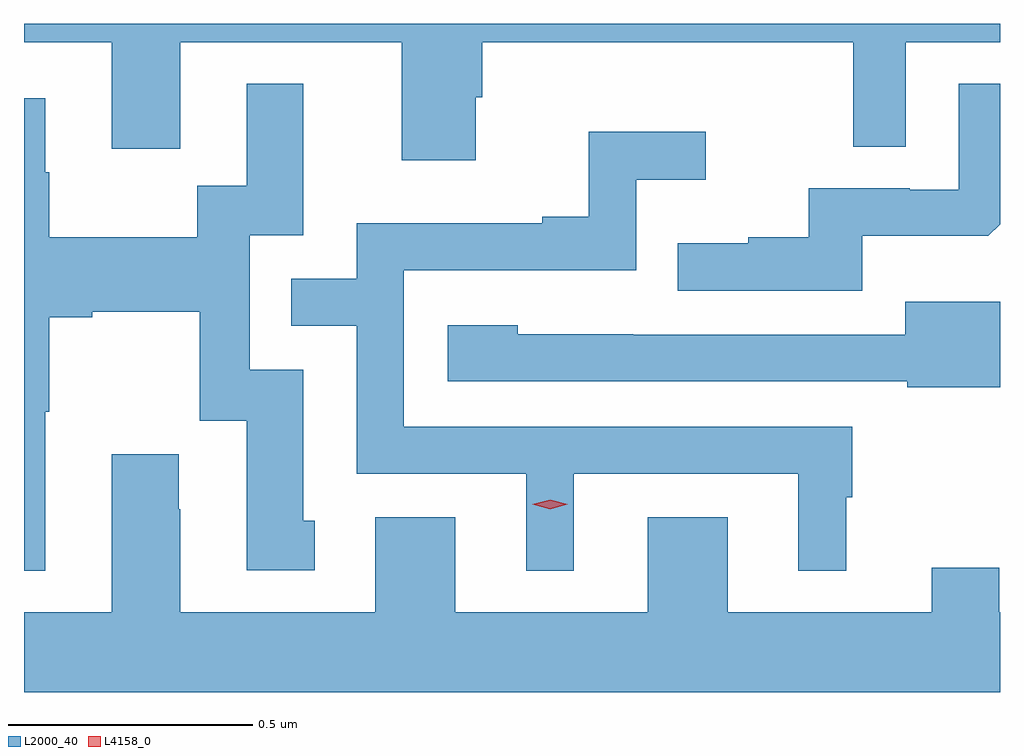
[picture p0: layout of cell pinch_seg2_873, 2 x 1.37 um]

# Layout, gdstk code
import gdstk
lib = gdstk.Library(unit=1e-6, precision=1e-09)
def P(c, l, *ps):  # polygons
    for p in ps: c.add(gdstk.Polygon(p, *l))
L2000_40 = (2000, 40)
L4158_0 = (4158, 0)

pinch_seg2_873 = lib.new_cell('pinch_seg2_873')
P(pinch_seg2_873, L2000_40, [(839.779,608.895),(839.792,608.895),(839.792,609.008),(840.552,609.008),(840.552,608.794),(840.66,608.794),(840.66,609.008),(840.853,609.008),(840.853,609.046),(838.853,609.046),(838.853,609.008),(839.033,609.008),(839.033,608.79),(839.173,608.79),(839.173,609.008),(839.627,609.008),(839.627,608.766),(839.779,608.766)],
  [(840.571,608.612),(840.829,608.612),(840.853,608.635),(840.853,608.923),(840.768,608.923),(840.768,608.706),(840.668,608.706),(840.668,608.709),(840.461,608.709),(840.461,608.608),(840.337,608.608),(840.337,608.596),(840.193,608.596),(840.193,608.499),(840.571,608.499)],
  [(838.897,608.251),(838.905,608.251),(838.905,608.444),(838.993,608.444),(838.993,608.456),(839.213,608.456),(839.213,608.232),(839.309,608.232),(839.309,607.926),(839.449,607.926),(839.449,608.028),(839.425,608.028),(839.425,608.337),(839.316,608.337),(839.316,608.613),(839.425,608.613),(839.425,608.923),(839.309,608.923),(839.309,608.714),(839.208,608.714),(839.208,608.608),(838.905,608.608),(838.905,608.742),(838.897,608.742),(838.897,608.893),(838.853,608.893),(838.853,607.925),(838.897,607.925)],
  [(839.98,608.124),(840.44,608.124),(840.44,607.925),(840.538,607.925),(840.538,608.076),(840.55,608.076),(840.55,608.22),(839.631,608.22),(839.631,608.541),(840.108,608.541),(840.108,608.726),(840.25,608.726),(840.25,608.825),(840.01,608.825),(840.01,608.65),(839.915,608.65),(839.915,608.637),(839.535,608.637),(839.535,608.523),(839.401,608.523),(839.401,608.427),(839.535,608.427),(839.535,608.124),(839.882,608.124),(839.882,607.925),(839.98,607.925)],
  [(840.853,608.476),(840.659,608.476),(840.659,608.409),(840.101,608.409),(840.101,608.41),(839.865,608.41),(839.865,608.428),(839.721,608.428),(839.721,608.313),(840.663,608.313),(840.663,608.301),(840.853,608.301)],
  [(840.853,607.84),(840.851,607.84),(840.851,607.931),(840.713,607.931),(840.713,607.84),(840.295,607.84),(840.295,608.035),(840.131,608.035),(840.131,607.84),(839.737,607.84),(839.737,608.035),(839.573,608.035),(839.573,607.84),(839.173,607.84),(839.173,608.051),(839.17,608.051),(839.17,608.164),(839.033,608.164),(839.033,607.84),(838.853,607.84),(838.853,607.676),(840.853,607.676)])
P(pinch_seg2_873, L4158_0, [(839.931,608.051),(839.895,608.061),(839.895,608.061),(839.895,608.061),(839.931,608.071),(839.967,608.061),(839.967,608.061),(839.967,608.061)])

lib.write_gds('pinch_seg2_873.gds')
